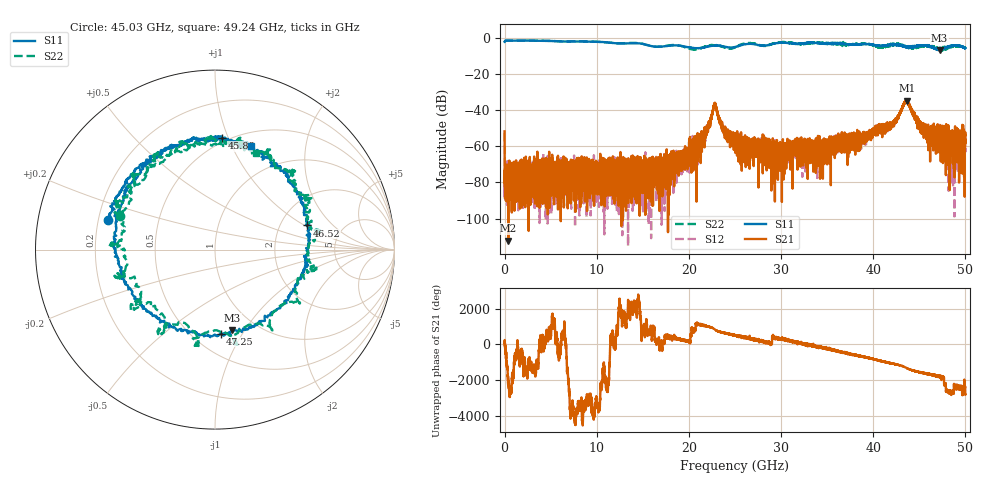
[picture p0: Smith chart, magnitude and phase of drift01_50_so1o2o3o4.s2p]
!Created with skrf (http://scikit-rf.org).
# Hz S RI R 50.0
!freq ReS11 ImS11 ReS21 ImS21 ReS12 ImS12 ReS22 ImS22
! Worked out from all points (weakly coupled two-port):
!   10001 points, 300 kHz to 50 GHz, reference 50 ohm
!   highest |S21| = -34.64 dB at 43.63 GHz (marker M1); lowest = -112.2 dB at 400.3 MHz (marker M2)
!   lowest |S11| = -6.8 dB at 47.2 GHz (marker M3), VSWR 2.70, Z = 38.7 - j44 ohm
!   |S11| at or under -10 dB: nowhere
!   |S22| runs from -7.1 to -1.4 dB; largest |S21 - S12| = 0.0048
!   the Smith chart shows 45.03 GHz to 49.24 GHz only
!   S11 on the Smith chart (normalised r, x): 45.03 GHz: 0.24, +0.13; 45.88 GHz: 0.47, +0.95; 46.52 GHz: 2.80, +1.05; 47.25 GHz: 0.67, -0.81; 49.24 GHz: 0.65, +1.19
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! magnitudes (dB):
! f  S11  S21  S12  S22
! 300 kHz  -2.1  -51.7  -52.4  -2.1
! 255.3 MHz  -1.4  -82.6  -92.4  -1.4
! 400.3 MHz  -1.4  -112.2  -83.5  -1.4
! 8.335 GHz  -2.0  -69.6  -75.6  -1.8
! 16.67 GHz  -4.9  -75.9  -79.6  -4.8
! 21.05 GHz  -5.7  -54.8  -59.3  -6.0
! 21.88 GHz  -5.0  -51.8  -51.8  -4.6
! 22.79 GHz  -4.3  -36.5  -36.1  -4.0
! 23.86 GHz  -4.8  -51.1  -50.6  -5.3
! 25 GHz  -5.0  -53.8  -59.3  -5.2
! 30.34 GHz  -2.6  -63.4  -66.5  -2.3
! 31.51 GHz  -3.2  -57.7  -61.9  -3.0
! 33.34 GHz  -2.6  -67.1  -62.3  -2.6
! 41.67 GHz  -3.9  -48.7  -50.8  -4.4
! 43.63 GHz  -4.5  -34.6  -35.3  -5.2
! 45.03 GHz  -4.2  -46.9  -48.2  -5.0
! 45.88 GHz  -4.1  -51.5  -49.8  -4.2
! 46.52 GHz  -5.5  -51.7  -51.5  -5.3
! 47.2 GHz  -6.8  -50.0  -54.6  -6.3
! 47.25 GHz  -6.6  -59.9  -52.0  -5.3
! 49.24 GHz  -4.3  -55.4  -61.2  -4.7
! 50 GHz  -5.6  -53.9  -52.1  -5.5
